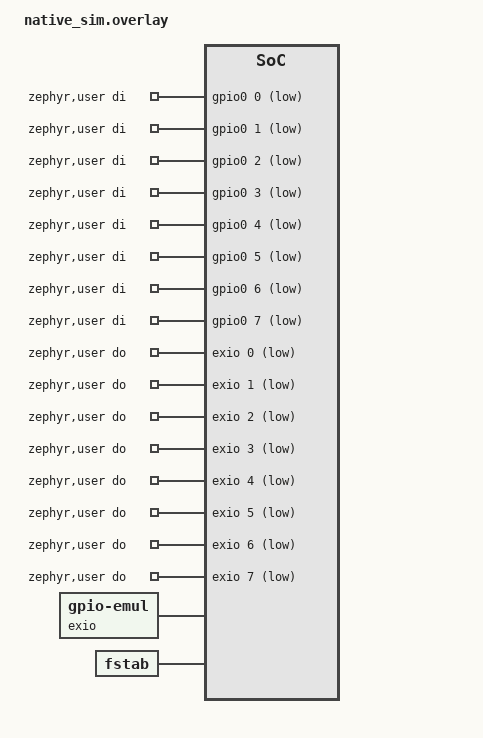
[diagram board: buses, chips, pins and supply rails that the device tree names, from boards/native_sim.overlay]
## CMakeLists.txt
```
# SPDX-License-Identifier: Apache-2.0

cmake_minimum_required(VERSION 3.20.0)

# The Waveshare board definition lives in this application (boards/waveshare).
list(APPEND BOARD_ROOT ${CMAKE_CURRENT_SOURCE_DIR})

find_package(Zephyr REQUIRED HINTS $ENV{ZEPHYR_BASE})
project(rs485_spb_gateway)

# Sparkplug B payloads: nanopb from the official Eclipse Tahu proto.
list(APPEND CMAKE_MODULE_PATH ${ZEPHYR_BASE}/modules/nanopb)
include(nanopb)
zephyr_nanopb_sources(app proto/sparkplug_b.proto)

# Default configuration embedded in the firmware (CFG-2). Override with
# -DGW_CONFIG_FILE=<path> to ship another default.
set(GW_CONFIG_FILE ${CMAKE_CURRENT_SOURCE_DIR}/config/default_config.json
    CACHE FILEPATH "JSON configuration embedded as the default")
generate_inc_file_for_target(app ${GW_CONFIG_FILE}
  ${ZEPHYR_BINARY_DIR}/include/generated/default_config.json.inc)

target_sources(app PRIVATE
  src/main.c
  src/app_config.c
  src/bdseq.c
  src/config.c
  src/convert.c
  src/debounce.c
  src/gw_shell.c
  src/gw_time.c
  src/json_reader.c
  src/local_io.c
  src/mb_poller.c
  src/model.c
  src/mqtt_link.c
  src/netmgr.c
  src/sparkplug.c
  src/spb_node.c
  src/status_led.c
)
```

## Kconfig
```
# SPDX-License-Identifier: Apache-2.0
rsource "Kconfig.gw"
source "Kconfig.zephyr"
```

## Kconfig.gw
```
# Gateway application options, shared by the firmware and the unit tests.
# SPDX-License-Identifier: Apache-2.0

menu "RS485 to Sparkplug B gateway"

config GW_MAX_DEVICES
	int "Maximum number of Modbus devices"
	default 16
	range 1 32

config GW_MAX_TAGS_PER_DEVICE
	int "Maximum number of tags per device"
	default 64
	range 1 128

config GW_MAX_TAGS
	int "Maximum number of tags in total"
	default 256
	range 1 1024

config GW_PAYLOAD_BUF_SIZE
	int "Sparkplug encode buffer size (bytes)"
	default 8192
	help
	  Size of the single static buffer used to encode outgoing payloads.
	  It must hold a DBIRTH with GW_MAX_TAGS_PER_DEVICE metrics; the
	  encoder fails cleanly (and logs) when a payload does not fit.

config GW_MQTT_RX_PAYLOAD_SIZE
	int "Largest accepted NCMD/DCMD payload (bytes)"
	default 1024

config GW_WRITE_QUEUE_LEN
	int "Depth of the DCMD write queue towards the RS485 bus owner"
	default 16

config GW_SNTP_RESYNC_S
	int "SNTP resynchronisation period (seconds)"
	default 3600

config GW_SNTP_TIMEOUT_MS
	int "SNTP query timeout (ms)"
	default 3000

config GW_CONFIG_PATH
	string "Path of the configuration override file"
	default "/lfs/config.json"

config GW_CONFIG_MAX_SIZE
	int "Largest accepted configuration file (bytes)"
	default 32768

config GW_HARDWARE_NAME
	string "Hardware description published in Node Info/Hardware"
	default "Waveshare ESP32-S3-POE-ETH-8DI-8DO"

config GW_WDT_TIMEOUT_MS
	int "Task watchdog timeout for the gateway threads (ms)"
	default 30000

config GW_STATUS_LED
	bool "Drive the RGB status LED"
	default y
	depends on LED_STRIP

module = GW
module-str = gateway
source "subsys/logging/Kconfig.template.log_config"

endmenu
```

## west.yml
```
# Minimal west manifest used to build this application (Zephyr v4.5.0).
#
# Usage (outside this repository):
#   mkdir -p ws/manifest && cp west.yml ws/manifest/
#   cd ws && west init -l manifest && west update --narrow -o=--depth=1
#   west blobs fetch hal_espressif   # only needed for Wi-Fi/BLE, not by the MVP
manifest:
  remotes:
    - name: zephyrproject-rtos
      url-base: https://github.com/zephyrproject-rtos
  projects:
    - name: zephyr
      remote: zephyrproject-rtos
      revision: v4.5.0
      import:
        name-allowlist:
          - hal_espressif
          - mbedtls
          - nanopb
          - littlefs
          - mcuboot
          - picolibc
          - zcbor
  self:
    path: manifest
```

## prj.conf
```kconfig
# Common configuration of the gateway firmware.
# Board specific parts live in boards/<board>.conf.

# --- System ---------------------------------------------------------------
CONFIG_MAIN_STACK_SIZE=4096
CONFIG_SYSTEM_WORKQUEUE_STACK_SIZE=2048
CONFIG_HEAP_MEM_POOL_SIZE=8192
CONFIG_REBOOT=y
CONFIG_HWINFO=y
CONFIG_ENTROPY_GENERATOR=y
CONFIG_TASK_WDT=y
CONFIG_WATCHDOG=y

# --- Logging and shell (REL-3) ---------------------------------------------
CONFIG_LOG=y
CONFIG_LOG_MODE_DEFERRED=y
CONFIG_LOG_BUFFER_SIZE=4096
CONFIG_GW_LOG_LEVEL_INF=y
CONFIG_SHELL=y
CONFIG_SHELL_STACK_SIZE=3072

# --- Persistent storage ---------------------------------------------------
CONFIG_FLASH=y
CONFIG_FLASH_MAP=y
CONFIG_ZMS=y
CONFIG_SETTINGS=y
CONFIG_SETTINGS_ZMS=y
CONFIG_FILE_SYSTEM=y
CONFIG_FILE_SYSTEM_LITTLEFS=y

# --- RS485 / Modbus RTU master --------------------------------------------
CONFIG_SERIAL=y
CONFIG_UART_INTERRUPT_DRIVEN=y
CONFIG_MODBUS=y
CONFIG_MODBUS_ROLE_CLIENT=y
CONFIG_MODBUS_SERIAL=y
# Honour the configured stop bits instead of the parity-derived default.
CONFIG_MODBUS_NONCOMPLIANT_SERIAL_MODE=y

# --- Networking and MQTT --------------------------------------------------
CONFIG_NETWORKING=y
CONFIG_NET_IPV4=y
CONFIG_NET_IPV6=n
CONFIG_NET_TCP=y
CONFIG_NET_UDP=y
CONFIG_NET_SOCKETS=y
CONFIG_NET_CONNECTION_MANAGER=y
CONFIG_DNS_RESOLVER=y
CONFIG_SNTP=y
CONFIG_MQTT_LIB=y
CONFIG_ZVFS_EVENTFD=y

# --- Sparkplug B payloads -------------------------------------------------
CONFIG_NANOPB=y

# --- Local I/O ------------------------------------------------------------
CONFIG_GPIO=y
```

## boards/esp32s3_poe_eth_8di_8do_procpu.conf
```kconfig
# Waveshare ESP32-S3-POE-ETH-8DI-8DO: W5500 Ethernet with the native IP stack.

CONFIG_SPI=y
CONFIG_NET_DRIVERS=y
CONFIG_ETH_DRIVER=y
CONFIG_NET_L2_ETHERNET=y
CONFIG_NET_L2_ETHERNET_MGMT=y
CONFIG_NET_DHCPV4=y
CONFIG_NET_CONTEXT_SNDTIMEO=y
CONFIG_NET_MAX_CONTEXTS=8

# TCA9554 output expander and the RGB status LED (RMT).
CONFIG_I2C=y
CONFIG_LED_STRIP=y
```

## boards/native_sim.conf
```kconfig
# Host simulation: offloaded (host) sockets instead of the W5500.
CONFIG_ETH_NATIVE_TAP=n
CONFIG_NET_DRIVERS=y
CONFIG_NET_SOCKETS_OFFLOAD=y
CONFIG_NET_NATIVE_OFFLOADED_SOCKETS=y

# 1 kHz DI sampling needs a 1 ms tick (the native_sim default is 10 ms).
CONFIG_SYS_CLOCK_TICKS_PER_SEC=1000

# Shell and logs on stdin/stdout so a test harness can drive "gw di".
CONFIG_UART_NATIVE_PTY_0_ON_STDINOUT=y
CONFIG_SHELL_PROMPT_UART=""
CONFIG_SHELL_VT100_COLORS=n
CONFIG_SHELL_ECHO_STATUS=n
CONFIG_LOG_BACKEND_NATIVE_POSIX=n
```

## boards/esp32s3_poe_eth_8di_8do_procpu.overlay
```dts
/*
 * Application additions for the Waveshare board: the LittleFS volume that
 * holds the configuration override (CFG-2).
 *
 * SPDX-License-Identifier: Apache-2.0
 */

/ {
	fstab {
		compatible = "zephyr,fstab";

		lfs: lfs {
			compatible = "zephyr,fstab,littlefs";
			mount-point = "/lfs";
			partition = <&lfs_partition>;
			automount;
			read-size = <16>;
			prog-size = <16>;
			cache-size = <256>;
			lookahead-size = <32>;
			block-cycles = <512>;
		};
	};
};
```

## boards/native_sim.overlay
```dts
/*
 * Host simulation target used for the end-to-end test (QA-3).
 *
 * - RS485: a host serial port (e.g. one end of a socat pty pair) through
 *   the native TTY UART; override the path with --rs485_port=<path>.
 * - DI: emulated GPIOs, driven with the "gw di" shell command.
 * - DO: a second emulated GPIO controller standing in for the TCA9554.
 * - LittleFS on the simulated flash for the configuration override.
 *
 * SPDX-License-Identifier: Apache-2.0
 */

/ {
	zephyr,user {
		di-gpios = <&gpio0 0 (GPIO_PULL_UP | GPIO_ACTIVE_LOW)>, <&gpio0 1 (GPIO_PULL_UP | GPIO_ACTIVE_LOW)>,
			   <&gpio0 2 (GPIO_PULL_UP | GPIO_ACTIVE_LOW)>, <&gpio0 3 (GPIO_PULL_UP | GPIO_ACTIVE_LOW)>,
			   <&gpio0 4 (GPIO_PULL_UP | GPIO_ACTIVE_LOW)>, <&gpio0 5 (GPIO_PULL_UP | GPIO_ACTIVE_LOW)>,
			   <&gpio0 6 (GPIO_PULL_UP | GPIO_ACTIVE_LOW)>, <&gpio0 7 (GPIO_PULL_UP | GPIO_ACTIVE_LOW)>;
		do-gpios = <&exio 0 GPIO_ACTIVE_LOW>, <&exio 1 GPIO_ACTIVE_LOW>,
			   <&exio 2 GPIO_ACTIVE_LOW>, <&exio 3 GPIO_ACTIVE_LOW>,
			   <&exio 4 GPIO_ACTIVE_LOW>, <&exio 5 GPIO_ACTIVE_LOW>,
			   <&exio 6 GPIO_ACTIVE_LOW>, <&exio 7 GPIO_ACTIVE_LOW>;
	};

	exio: gpio_exio {
		status = "okay";
		compatible = "zephyr,gpio-emul";
		rising-edge;
		falling-edge;
		high-level;
		low-level;
		gpio-controller;
		#gpio-cells = <2>;
		ngpios = <8>;
	};

	rs485: rs485 {
		status = "okay";
		compatible = "zephyr,native-tty-uart";
		current-speed = <9600>;
		serial-port = "/tmp/gw-rs485";

		rs485_modbus: rs485-modbus {
			compatible = "zephyr,modbus-serial";
			status = "okay";
		};
	};

	fstab {
		compatible = "zephyr,fstab";

		lfs: lfs {
			compatible = "zephyr,fstab,littlefs";
			mount-point = "/lfs";
			partition = <&lfs_partition>;
			automount;
			read-size = <16>;
			prog-size = <16>;
			cache-size = <256>;
			lookahead-size = <32>;
			block-cycles = <512>;
		};
	};
};

&flash0 {
	partitions {
		lfs_partition: partition@100000 {
			compatible = "zephyr,mapped-partition";
			label = "lfs";
			reg = <0x00100000 DT_SIZE_K(512)>;
		};
	};
};
```

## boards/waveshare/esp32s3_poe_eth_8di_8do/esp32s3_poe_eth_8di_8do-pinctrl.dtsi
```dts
/*
 * Pin map of the Waveshare ESP32-S3-POE-ETH-8DI-8DO (from the Waveshare
 * wiki pin table and its Arduino demo, see zephyr/README.md).
 *
 * SPDX-License-Identifier: Apache-2.0
 */

#include <zephyr/dt-bindings/pinctrl/esp32s3-pinctrl.h>

&pinctrl {
	/* Isolated RS485: TX GPIO17, RX GPIO18; DE/RTS GPIO21 is driven as a
	 * GPIO by the Modbus subsystem (de-gpios), see the board DTS.
	 */
	uart1_rs485: uart1_rs485 {
		group1 {
			pinmux = <UART1_TX_GPIO17>;
			output-high;
		};

		group2 {
			pinmux = <UART1_RX_GPIO18>;
			bias-pull-up;
		};
	};

	/* W5500: MOSI 13, MISO 14, SCLK 15 (CS 16 is a GPIO chip select) */
	spim2_w5500: spim2_w5500 {
		group1 {
			pinmux = <SPIM2_MISO_GPIO14>,
				 <SPIM2_SCLK_GPIO15>;
		};

		group2 {
			pinmux = <SPIM2_MOSI_GPIO13>;
			output-low;
		};
	};

	/* Shared I2C bus: TCA9554 (0x20, outputs) and PCF85063 RTC (0x51) */
	i2c0_default: i2c0_default {
		group1 {
			pinmux = <I2C0_SDA_GPIO42>,
				 <I2C0_SCL_GPIO41>;
			bias-pull-up;
			drive-open-drain;
			output-high;
		};
	};

	/* WS2812-type RGB LED data line on GPIO38, driven by RMT channel 0 */
	rmt_led: rmt_led {
		group1 {
			pinmux = <RMT_OUT0_GPIO38>;
			output-low;
		};
	};

	/* Passive buzzer on GPIO46 (PWM driven in the Waveshare demo) */
	ledc0_buzzer: ledc0_buzzer {
		group1 {
			pinmux = <LEDC_CH0_GPIO46>;
			output-enable;
		};
	};

	/* Isolated CAN (TWAI): TX GPIO2, RX GPIO3 */
	twai_default: twai_default {
		group1 {
			pinmux = <TWAI_TX_GPIO2>,
				 <TWAI_RX_GPIO3>;
		};
	};
};
```

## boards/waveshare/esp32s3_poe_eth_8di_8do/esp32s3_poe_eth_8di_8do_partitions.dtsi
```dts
/*
 * 16 MB flash layout (ESP32-S3-WROOM-1U-N16R8).
 *
 * Two 6 MB image slots keep room for MCUboot A/B updates (FW-1), a 3 MB
 * LittleFS volume holds the configuration file (CFG-2) and a separate
 * partition backs the settings subsystem (ZMS) for bdSeq (SPB-3).
 *
 * SPDX-License-Identifier: Apache-2.0
 */

&flash0 {
	reg = <0x0 DT_SIZE_M(16)>;
	ranges = <0x0 0x0 DT_SIZE_M(16)>;

	partitions {
		ranges;
		#address-cells = <1>;
		#size-cells = <1>;

		boot_partition: partition@0 {
			compatible = "zephyr,mapped-partition";
			label = "mcuboot";
			reg = <0x0 DT_SIZE_K(64)>;
		};

		sys_partition: partition@10000 {
			compatible = "zephyr,mapped-partition";
			label = "sys";
			reg = <0x10000 DT_SIZE_K(64)>;
		};

		slot0_partition: partition@20000 {
			compatible = "zephyr,mapped-partition";
			label = "image-0";
			reg = <0x20000 DT_SIZE_M(6)>;
		};

		slot1_partition: partition@620000 {
			compatible = "zephyr,mapped-partition";
			label = "image-1";
			reg = <0x620000 DT_SIZE_M(6)>;
		};

		lfs_partition: partition@c20000 {
			compatible = "zephyr,mapped-partition";
			label = "lfs";
			reg = <0xc20000 DT_SIZE_M(3)>;
		};

		storage_partition: partition@f20000 {
			compatible = "zephyr,mapped-partition";
			label = "storage";
			reg = <0xf20000 DT_SIZE_K(256)>;
		};

		coredump_partition: partition@fff000 {
			compatible = "zephyr,mapped-partition";
			label = "coredump";
			reg = <0xfff000 DT_SIZE_K(4)>;
		};
	};
};
```

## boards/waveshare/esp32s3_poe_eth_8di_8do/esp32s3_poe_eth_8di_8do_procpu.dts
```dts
/*
 * Waveshare ESP32-S3-POE-ETH-8DI-8DO, PRO CPU.
 *
 * Facts confirmed from the Waveshare wiki and its Arduino demo code
 * (ESP32-S3-POE-ETH-8DI-8DO-Demo.zip): see zephyr/README.md, section
 * "Datos de la placa", for the evidence and the confidence level.
 *
 * SPDX-License-Identifier: Apache-2.0
 */

/dts-v1/;

#include <espressif/esp32s3/esp32s3.dtsi>
#include <zephyr/dt-bindings/gpio/gpio.h>
#include <zephyr/dt-bindings/input/input-event-codes.h>
#include <zephyr/dt-bindings/led/led.h>
#include "esp32s3_poe_eth_8di_8do_partitions.dtsi"
#include "esp32s3_poe_eth_8di_8do-pinctrl.dtsi"

/ {
	model = "Waveshare ESP32-S3-POE-ETH-8DI-8DO PROCPU";
	compatible = "waveshare,esp32s3-poe-eth-8di-8do";

	aliases {
		watchdog0 = &wdt0;
		sw0 = &button_boot;
		status-led = &rgb_led;
		rtc = &rtc;
	};

	chosen {
		zephyr,sram = &sram1;
		zephyr,console = &usb_serial;
		zephyr,shell-uart = &usb_serial;
		zephyr,flash = &flash0;
		zephyr,code-partition = &slot0_partition;
		zephyr,settings-partition = &storage_partition;
		zephyr,canbus = &twai;
	};

	buttons {
		compatible = "gpio-keys";

		button_boot: button_boot {
			gpios = <&gpio0 0 (GPIO_PULL_UP | GPIO_ACTIVE_LOW)>;
			label = "BOOT";
			zephyr,code = <INPUT_KEY_0>;
		};
	};

	/*
	 * Field I/O for applications (there is no generic binding for plain
	 * digital I/O channels).
	 *
	 * di-gpios: opto-isolated inputs DI1..DI8 = GPIO4..GPIO11. The pin is
	 * pulled up and the energised optocoupler pulls it low: active low.
	 *
	 * do-gpios: Darlington sink outputs DO1..DO8 = TCA9554 EXIO1..EXIO8.
	 * A low expander pin turns the output on: active low.
	 */
	zephyr,user {
		di-gpios = <&gpio0 4 (GPIO_PULL_UP | GPIO_ACTIVE_LOW)>,
			   <&gpio0 5 (GPIO_PULL_UP | GPIO_ACTIVE_LOW)>,
			   <&gpio0 6 (GPIO_PULL_UP | GPIO_ACTIVE_LOW)>,
			   <&gpio0 7 (GPIO_PULL_UP | GPIO_ACTIVE_LOW)>,
			   <&gpio0 8 (GPIO_PULL_UP | GPIO_ACTIVE_LOW)>,
			   <&gpio0 9 (GPIO_PULL_UP | GPIO_ACTIVE_LOW)>,
			   <&gpio0 10 (GPIO_PULL_UP | GPIO_ACTIVE_LOW)>,
			   <&gpio0 11 (GPIO_PULL_UP | GPIO_ACTIVE_LOW)>;
		do-gpios = <&exio 0 GPIO_ACTIVE_LOW>, <&exio 1 GPIO_ACTIVE_LOW>,
			   <&exio 2 GPIO_ACTIVE_LOW>, <&exio 3 GPIO_ACTIVE_LOW>,
			   <&exio 4 GPIO_ACTIVE_LOW>, <&exio 5 GPIO_ACTIVE_LOW>,
			   <&exio 6 GPIO_ACTIVE_LOW>, <&exio 7 GPIO_ACTIVE_LOW>;
	};

	/* RGB status LED on GPIO38; the demo sends the bytes in R, G, B order. */
	rgb_led: rgb-led {
		compatible = "worldsemi,ws2812-pulse-io";
		pulse-ios = <&rmt 0>;
		chain-length = <1>;
		color-mapping = <LED_COLOR_ID_RED LED_COLOR_ID_GREEN LED_COLOR_ID_BLUE>;
	};
};

&psram0 {
	size = <DT_SIZE_M(8)>;
};

&gpio0 {
	status = "okay";
};

&gpio1 {
	status = "okay";
};

&usb_serial {
	status = "okay";
};

&wdt0 {
	status = "okay";
};

&trng0 {
	status = "okay";
};

&rmt {
	pinctrl-0 = <&rmt_led>;
	pinctrl-names = "default";
	status = "okay";
};

/* Isolated RS485 transceiver on UART1, DE/RTS on GPIO21 (active high). */
&uart1 {
	status = "okay";
	current-speed = <9600>;
	pinctrl-0 = <&uart1_rs485>;
	pinctrl-names = "default";

	rs485_modbus: rs485-modbus {
		compatible = "zephyr,modbus-serial";
		status = "okay";
		de-gpios = <&gpio0 21 GPIO_ACTIVE_HIGH>;
	};
};

/* W5500 Ethernet controller (MACRAW mode with the Zephyr IP stack). */
&spi2 {
	#address-cells = <1>;
	#size-cells = <0>;
	status = "okay";
	pinctrl-0 = <&spim2_w5500>;
	pinctrl-names = "default";
	cs-gpios = <&gpio0 16 GPIO_ACTIVE_LOW>;

	w5500: ethernet@0 {
		compatible = "wiznet,w5500";
		reg = <0x0>;
		spi-max-frequency = <20000000>;
		int-gpios = <&gpio0 12 GPIO_ACTIVE_LOW>;
		reset-gpios = <&gpio1 7 GPIO_ACTIVE_LOW>; /* GPIO39 */
	};
};

&i2c0 {
	status = "okay";
	clock-frequency = <I2C_BITRATE_STANDARD>;
	pinctrl-0 = <&i2c0_default>;
	pinctrl-names = "default";

	/* TCA9554 EXIO1..8 -> DO1..DO8. A low pin turns the Darlington on. */
	exio: gpio@20 {
		compatible = "ti,tca9554";
		reg = <0x20>;
		gpio-controller;
		#gpio-cells = <2>;
		ngpios = <8>;
	};

	rtc: rtc@51 {
		compatible = "nxp,pcf85063a";
		reg = <0x51>;
		int1-gpios = <&gpio1 8 GPIO_ACTIVE_LOW>; /* GPIO40 */
		status = "disabled"; /* TIME-2 is not part of the MVP */
	};
};

/* Passive buzzer (PWM), not used by the MVP. */
&ledc0 {
	pinctrl-0 = <&ledc0_buzzer>;
	pinctrl-names = "default";
	#address-cells = <1>;
	#size-cells = <0>;
	status = "disabled";

	channel0@0 {
		reg = <0x0>;
		timer = <0>;
	};
};

&twai {
	pinctrl-0 = <&twai_default>;
	pinctrl-names = "default";
	status = "disabled"; /* CAN is not part of the product spec */
};

/* microSD: 1-bit SD bus, CLK 48, CMD 47, D0 45 (D1..D3 not connected). */
&sdhc {
	status = "disabled";
};

&sdhc1 {
	status = "disabled";
	bus-width = <1>;
	clk-pin = <48>;
	cmd-pin = <47>;
	d0-pin = <45>;
};
```

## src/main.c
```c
/*
 * RS485 (Modbus RTU master) to MQTT Sparkplug B 3.0 edge node.
 *
 * Boot sequence: watchdog, configuration, local I/O, persistent state,
 * network, RS485 bus owner, MQTT session. With an invalid configuration
 * the gateway does not poll nor connect (CFG-1); only the status LED and
 * the shell stay alive so the configuration can be replaced.
 *
 * SPDX-License-Identifier: Apache-2.0
 */

#include <zephyr/device.h>
#include <zephyr/devicetree.h>
#include <zephyr/drivers/hwinfo.h>
#include <zephyr/kernel.h>
#include <zephyr/logging/log.h>
#include <zephyr/task_wdt/task_wdt.h>

#include <zephyr/app_version.h>

#include "app_config.h"
#include "bdseq.h"
#include "local_io.h"
#include "mb_poller.h"
#include "model.h"
#include "mqtt_link.h"
#include "netmgr.h"

LOG_MODULE_REGISTER(main, CONFIG_GW_LOG_LEVEL);

static struct gw_config config;

static void log_reset_cause(void)
{
	uint32_t cause = 0;

	if (hwinfo_get_reset_cause(&cause) == 0) {
		LOG_INF("reset cause 0x%08x", cause);
		(void)hwinfo_clear_reset_cause();
	}
}

static int start_watchdog(void)
{
	const struct device *hw_wdt = DEVICE_DT_GET_OR_NULL(DT_ALIAS(watchdog0));

	if (hw_wdt != NULL && !device_is_ready(hw_wdt)) {
		hw_wdt = NULL;
	}
	/* The hardware watchdog backs up the task watchdog itself (REL-1). */
	return task_wdt_init(hw_wdt);
}

int main(void)
{
	const char *source;
	int ret;

	LOG_INF("RS485 Sparkplug B gateway %s (%s)", APP_VERSION_STRING,
		STRINGIFY(APP_BUILD_VERSION));
	log_reset_cause();

	ret = start_watchdog();
	if (ret < 0) {
		LOG_ERR("task watchdog init failed (%d)", ret);
	}

	ret = app_config_load(&config, &source);
	model_init(&config);

	if (local_io_init() < 0) {
		LOG_ERR("digital inputs unavailable");
	}
	(void)local_io_start(ret == 0 ? config.local_io.di_debounce_ms : 20);

	if (ret < 0) {
		model_status_set(GW_STATUS_CONFIG_ERROR, true);
		LOG_ERR("not starting: fix the configuration and reboot");
		return 0;
	}

	(void)bdseq_init();
	if (netmgr_start(&config) < 0) {
		LOG_ERR("network start failed");
	}
	if (mb_poller_start(&config) < 0) {
		LOG_ERR("RS485 start failed");
	}
	if (mqtt_link_start(&config) < 0) {
		LOG_ERR("MQTT start failed");
	}
	return 0;
}
```

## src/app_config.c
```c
/*
 * SPDX-License-Identifier: Apache-2.0
 */

#include "app_config.h"

#include <errno.h>

#include <zephyr/fs/fs.h>
#include <zephyr/logging/log.h>

LOG_MODULE_REGISTER(app_config, CONFIG_GW_LOG_LEVEL);

/* Default configuration, embedded at build time from GW_CONFIG_FILE. */
static const char default_config[] = {
#include "default_config.json.inc"
	0x00};

/* Load buffer, only used once at boot. */
static char file_buf[CONFIG_GW_CONFIG_MAX_SIZE];

static int read_file(const char *path, size_t *len)
{
	struct fs_dirent entry;
	struct fs_file_t file;
	ssize_t n;
	int ret;

	ret = fs_stat(path, &entry);
	if (ret < 0) {
		return ret;
	}
	if (entry.size > sizeof(file_buf)) {
		LOG_ERR("%s: %u bytes exceeds the %u byte limit", path, (unsigned int)entry.size,
			(unsigned int)sizeof(file_buf));
		return -EFBIG;
	}
	fs_file_t_init(&file);
	ret = fs_open(&file, path, FS_O_READ);
	if (ret < 0) {
		return ret;
	}
	n = fs_read(&file, file_buf, entry.size);
	(void)fs_close(&file);
	if (n != (ssize_t)entry.size) {
		return (n < 0) ? (int)n : -EIO;
	}
	*len = (size_t)n;
	return 0;
}

int app_config_load(struct gw_config *cfg, const char **source)
{
	char err[GW_CFG_ERR_MAX];
	const char *doc = default_config;
	size_t len = sizeof(default_config) - 1;
	int ret;

	*source = "built-in default";
	ret = read_file(CONFIG_GW_CONFIG_PATH, &len);
	if (ret == 0) {
		doc = file_buf;
		*source = CONFIG_GW_CONFIG_PATH;
	} else if (ret == -ENOENT) {
		len = sizeof(default_config) - 1;
	} else {
		LOG_ERR("cannot read %s (%d)", CONFIG_GW_CONFIG_PATH, ret);
		return ret;
	}

	ret = gw_config_parse(doc, len, cfg, err, sizeof(err));
	if (ret < 0) {
		LOG_ERR("invalid configuration (%s): %s", *source, err);
		return ret;
	}
	LOG_INF("configuration from %s: %u device(s), %u tag(s)", *source, cfg->device_count,
		cfg->tag_count);
	return 0;
}
```

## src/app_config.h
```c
/*
 * Configuration source selection (CFG-2): the file in LittleFS overrides
 * the default document embedded in the firmware.
 *
 * SPDX-License-Identifier: Apache-2.0
 */

#ifndef GW_APP_CONFIG_H_
#define GW_APP_CONFIG_H_

#include "gw_config.h"

/**
 * Load the active configuration.
 *
 * @param source set to a description of where it came from.
 * @retval 0 on success, -EINVAL if the selected document is invalid (the
 *         error has been logged), another negative errno on I/O errors.
 */
int app_config_load(struct gw_config *cfg, const char **source);

#endif /* GW_APP_CONFIG_H_ */
```

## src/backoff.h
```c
/*
 * Reconnection back-off (MQTT-2): exponential from 1 s to 60 s with jitter.
 *
 * SPDX-License-Identifier: Apache-2.0
 */

#ifndef GW_BACKOFF_H_
#define GW_BACKOFF_H_

#include <stdint.h>

#define BACKOFF_MIN_MS 1000U
#define BACKOFF_MAX_MS 60000U

/**
 * Delay before reconnection attempt number @p attempt (0 = first retry).
 * The ceiling doubles per attempt up to BACKOFF_MAX_MS and the delay is
 * drawn from [ceiling/2, ceiling] using @p rnd ("equal jitter"), never
 * below BACKOFF_MIN_MS.
 */
static inline uint32_t backoff_delay_ms(uint32_t attempt, uint32_t rnd)
{
	uint32_t ceiling = (attempt >= 6) ? BACKOFF_MAX_MS : (BACKOFF_MIN_MS << attempt);
	uint32_t delay;

	if (ceiling > BACKOFF_MAX_MS) {
		ceiling = BACKOFF_MAX_MS;
	}
	delay = ceiling / 2U + rnd % (ceiling / 2U + 1U);
	return (delay < BACKOFF_MIN_MS) ? BACKOFF_MIN_MS : delay;
}

#endif /* GW_BACKOFF_H_ */
```

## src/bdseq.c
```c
/*
 * SPDX-License-Identifier: Apache-2.0
 */

#include "bdseq.h"

#include <errno.h>

#include <zephyr/logging/log.h>
#include <zephyr/settings/settings.h>
#include <zephyr/sys/util.h>

LOG_MODULE_REGISTER(bdseq, CONFIG_GW_LOG_LEVEL);

#define KEY_ROOT "gw"
#define KEY_NAME "bdseq"

static uint8_t stored;

static int bdseq_set(const char *name, size_t len, settings_read_cb read_cb, void *cb_arg)
{
	const char *next;

	if (settings_name_steq(name, KEY_NAME, &next) && next == NULL) {
		if (len != sizeof(stored)) {
			return -EINVAL;
		}
		return read_cb(cb_arg, &stored, sizeof(stored)) == sizeof(stored) ? 0 : -EIO;
	}
	return -ENOENT;
}

SETTINGS_STATIC_HANDLER_DEFINE(gw_bdseq, KEY_ROOT, NULL, bdseq_set, NULL, NULL);

int bdseq_init(void)
{
	int ret = settings_subsys_init();

	if (ret == 0) {
		ret = settings_load_subtree(KEY_ROOT);
	}
	if (ret < 0) {
		LOG_ERR("settings unavailable (%d): bdSeq restarts at 0", ret);
		return ret;
	}
	LOG_INF("stored bdSeq %u", stored);
	return 0;
}

uint8_t bdseq_next(void)
{
	uint8_t current = stored;
	uint8_t next = (uint8_t)(current + 1U);
	int ret = settings_save_one(KEY_ROOT "/" KEY_NAME, &next, sizeof(next));

	if (ret < 0) {
		LOG_ERR("cannot persist bdSeq (%d)", ret);
	}
	stored = next;
	return current;
}
```

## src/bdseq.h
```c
/*
 * Persistent Sparkplug birth/death sequence number (SPB-3).
 *
 * SPDX-License-Identifier: Apache-2.0
 */

#ifndef GW_BDSEQ_H_
#define GW_BDSEQ_H_

#include <stdint.h>

/** Load the stored value from the settings subsystem (0 on first boot). */
int bdseq_init(void);

/**
 * bdSeq for a new connection attempt: returns the stored value and persists
 * its successor (mod 256) before the attempt is made, so a reset during the
 * attempt can never reuse a value already announced in a will message.
 */
uint8_t bdseq_next(void);

#endif /* GW_BDSEQ_H_ */
```

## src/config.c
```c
/*
 * JSON configuration parser and validator (CFG-1).
 *
 * Schema: SPEC section 6. Unknown members are rejected so that typos are
 * reported instead of silently ignored. Every error message starts with the
 * JSON path of the offending value.
 *
 * SPDX-License-Identifier: Apache-2.0
 */

#include "gw_config.h"
#include "json_reader.h"

#include <errno.h>
#include <math.h>
#include <stdarg.h>
#include <stdio.h>
#include <string.h>

#include <zephyr/sys/util.h>

#define KEY_MAX 24

struct parser {
	struct jr jr;
	struct gw_config *cfg;
	char path[64];
	size_t path_len;
	char *err;
	size_t err_size;
};

/* ---- error and path helpers -------------------------------------------- */

static int fail(struct parser *p, const char *key, const char *fmt, ...)
{
	char msg[96];
	va_list ap;

	va_start(ap, fmt);
	vsnprintf(msg, sizeof(msg), fmt, ap);
	va_end(ap);

	if (key != NULL) {
		snprintf(p->err, p->err_size, "%s%s%s: %s", p->path, p->path_len ? "." : "", key,
			 msg);
	} else {
		snprintf(p->err, p->err_size, "%s: %s", p->path_len ? p->path : "(root)", msg);
	}
	return -EINVAL;
}

/* Report a syntax error detected by the reader. */
static int fail_syntax(struct parser *p)
{
	return fail(p, NULL, "%s", p->jr.err);
}

static size_t path_push(struct parser *p, const char *fmt, ...)
{
	size_t saved = p->path_len;
	va_list ap;
	int n;

	va_start(ap, fmt);
	n = vsnprintf(&p->path[p->path_len], sizeof(p->path) - p->path_len, fmt, ap);
	va_end(ap);
	if (n > 0) {
		p->path_len = MIN(p->path_len + (size_t)n, sizeof(p->path) - 1);
	}
	return saved;
}

static void path_pop(struct parser *p, size_t saved)
{
	p->path_len = saved;
	p->path[saved] = '\0';
}

/* ---- typed readers ----------------------------------------------------- */

static int expect_kind(struct parser *p, const char *key, enum jr_kind want)
{
	enum jr_kind got = jr_peek(&p->jr);

	if (got != want) {
		return fail(p, key, "expected %s, got %s", jr_kind_name(want), jr_kind_name(got));
	}
	return 0;
}

static int read_str(struct parser *p, const char *key, char *out, size_t size)
{
	if (expect_kind(p, key, JR_STRING) < 0) {
		return -EINVAL;
	}
	if (jr_string(&p->jr, out, size) < 0) {
		return fail(p, key, "%s", p->jr.err);
	}
	return 0;
}

static int read_double(struct parser *p, const char *key, double *out)
{
	if (expect_kind(p, key, JR_NUMBER) < 0) {
		return -EINVAL;
	}
	if (jr_number(&p->jr, out) < 0) {
		return fail(p, key, "%s", p->jr.err);
	}
	if (!isfinite(*out)) {
		return fail(p, key, "number out of range");
	}
	return 0;
}

static int read_uint(struct parser *p, const char *key, uint32_t min, uint32_t max,
		     uint32_t *out)
{
	double v;

	if (read_double(p, key, &v) < 0) {
		return -EINVAL;
	}
	if (v != floor(v)) {
		return fail(p, key, "expected an integer");
	}
	if (v < (double)min || v > (double)max) {
		return fail(p, key, "must be between %u and %u", (unsigned int)min,
			    (unsigned int)max);
	}
	*out = (uint32_t)v;
	return 0;
}

static int read_u8(struct parser *p, const char *key, uint32_t min, uint32_t max, uint8_t *out)
{
	uint32_t v;
	int ret = read_uint(p, key, min, max, &v);

	*out = (uint8_t)v;
	return ret;
}

static int read_u16(struct parser *p, const char *key, uint32_t min, uint32_t max,
		    uint16_t *out)
{
	uint32_t v;
	int ret = read_uint(p, key, min, max, &v);

	*out = (uint16_t)v;
	return ret;
}

static int read_bool(struct parser *p, const char *key, bool *out)
{
	if (expect_kind(p, key, JR_BOOL) < 0) {
		return -EINVAL;
	}
	if (jr_bool(&p->jr, out) < 0) {
		return fail(p, key, "%s", p->jr.err);
	}
	return 0;
}

static int read_enum(struct parser *p, const char *key, const char *const *names, size_t count,
		     uint8_t *out)
{
	char buf[KEY_MAX];

	if (read_str(p, key, buf, sizeof(buf)) < 0) {
		return -EINVAL;
	}
	for (size_t i = 0; i < count; i++) {
		if (strcmp(buf, names[i]) == 0) {
			*out = (uint8_t)i;
			return 0;
		}
	}
	return fail(p, key, "invalid value '%s'", buf);
}

static int parse_ipv4(const char *s, uint8_t out[4])
{
	unsigned int part = 0;
	int digits = 0;
	int idx = 0;

	for (;; s++) {
		if (*s >= '0' && *s <= '9') {
			part = part * 10U + (unsigned int)(*s - '0');
			if (++digits > 3 || part > 255U) {
				return -EINVAL;
			}
		} else if ((*s == '.' || *s == '\0') && digits > 0 && idx < 4) {
			out[idx++] = (uint8_t)part;
			part = 0;
			digits = 0;
			if (*s == '\0') {
				break;
			}
		} else {
			return -EINVAL;
		}
	}
	return idx == 4 ? 0 : -EINVAL;
}

static int read_ipv4(struct parser *p, const char *key, uint8_t out[4])
{
	char buf[16];

	if (read_str(p, key, buf, sizeof(buf)) < 0) {
		return -EINVAL;
	}
	if (parse_ipv4(buf, out) < 0) {
		return fail(p, key, "invalid IPv4 address '%s'", buf);
	}
	return 0;
}

/* Sparkplug identifiers become MQTT topic levels (Sparkplug 3.0, 4.1). */
static int check_spb_id(struct parser *p, const char *key, const char *id, bool required)
{
	if (id[0] == '\0') {
		return required ? fail(p, key, "must not be empty") : 0;
	}
	if (strpbrk(id, "/+#") != NULL) {
		return fail(p, key, "must not contain '/', '+' or '#'");
	}
	return 0;
}

static int unknown(struct parser *p, const char *key)
{
	return fail(p, key, "unknown member");
}

static int next_member(struct parser *p, char *key)
{
	int ret = jr_object_next(&p->jr, key, KEY_MAX);

	if (ret < 0) {
		return fail_syntax(p);
	}
	return ret;
}

static int begin_object(struct parser *p, const char *key)
{
	if (expect_kind(p, key, JR_OBJECT) < 0) {
		return -EINVAL;
	}
	return jr_object_begin(&p->jr) < 0 ? fail_syntax(p) : 0;
}

/* ---- sections ---------------------------------------------------------- */

static int parse_network(struct parser *p)
{
	struct gw_config *c = p->cfg;
	bool has_ip = false, has_mask = false, has_gw = false;
	char key[KEY_MAX];
	int ret;

	while ((ret = next_member(p, key)) > 0) {
		if (strcmp(key, "dhcp") == 0) {
			ret = read_bool(p, key, &c->network.dhcp);
		} else if (strcmp(key, "ip") == 0) {
			ret = read_ipv4(p, key, c->network.ip);
			has_ip = true;
		} else if (strcmp(key, "netmask") == 0) {
			ret = read_ipv4(p, key, c->network.netmask);
			has_mask = true;
		} else if (strcmp(key, "gateway") == 0) {
			ret = read_ipv4(p, key, c->network.gateway);
			has_gw = true;
		} else if (strcmp(key, "dns") == 0) {
			ret = read_ipv4(p, key, c->network.dns);
			c->network.has_dns = true;
		} else {
			ret = unknown(p, key);
		}
		if (ret < 0) {
			return ret;
		}
	}
	if (ret < 0) {
		return ret;
	}
	if (!c->network.dhcp && !(has_ip && has_mask && has_gw)) {
		return fail(p, NULL, "'ip', 'netmask' and 'gateway' are required when dhcp is false");
	}
	return 0;
}

static int parse_ntp(struct parser *p)
{
	char key[KEY_MAX];
	int ret;

	while ((ret = next_member(p, key)) > 0) {
		if (strcmp(key, "server") == 0) {
			ret = read_str(p, key, p->cfg->ntp.server, sizeof(p->cfg->ntp.server));
		} else {
			ret = unknown(p, key);
		}
		if (ret < 0) {
			return ret;
		}
	}
	return ret;
}

static int parse_mqtt(struct parser *p)
{
	struct gw_config *c = p->cfg;
	char key[KEY_MAX];
	int ret;

	while ((ret = next_member(p, key)) > 0) {
		if (strcmp(key, "host") == 0) {
			ret = read_str(p, key, c->mqtt.host, sizeof(c->mqtt.host));
		} else if (strcmp(key, "port") == 0) {
			ret = read_u16(p, key, 1, 65535, &c->mqtt.port);
		} else if (strcmp(key, "client_id") == 0) {
			ret = read_str(p, key, c->mqtt.client_id, sizeof(c->mqtt.client_id));
		} else if (strcmp(key, "username") == 0) {
			ret = read_str(p, key, c->mqtt.username, sizeof(c->mqtt.username));
		} else if (strcmp(key, "password") == 0) {
			ret = read_str(p, key, c->mqtt.password, sizeof(c->mqtt.password));
		} else if (strcmp(key, "keepalive_s") == 0) {
			ret = read_u16(p, key, 5, 3600, &c->mqtt.keepalive_s);
		} else {
			ret = unknown(p, key);
		}
		if (ret < 0) {
			return ret;
		}
	}
	if (ret < 0) {
		return ret;
	}
	if (c->mqtt.host[0] == '\0') {
		return fail(p, "host", "must not be empty");
	}
	return 0;
}

static int parse_sparkplug(struct parser *p)
{
	struct gw_config *c = p->cfg;
	char key[KEY_MAX];
	int ret;

	while ((ret = next_member(p, key)) > 0) {
		if (strcmp(key, "group_id") == 0) {
			ret = read_str(p, key, c->sparkplug.group_id, sizeof(c->sparkplug.group_id));
		} else if (strcmp(key, "edge_node_id") == 0) {
			ret = read_str(p, key, c->sparkplug.edge_node_id,
				       sizeof(c->sparkplug.edge_node_id));
		} else if (strcmp(key, "primary_host_id") == 0) {
			ret = read_str(p, key, c->sparkplug.primary_host_id,
				       sizeof(c->sparkplug.primary_host_id));
		} else {
			ret = unknown(p, key);
		}
		if (ret < 0) {
			return ret;
		}
	}
	if (ret < 0) {
		return ret;
	}
	ret = check_spb_id(p, "group_id", c->sparkplug.group_id, true);
	if (ret == 0) {
		ret = check_spb_id(p, "edge_node_id", c->sparkplug.edge_node_id, true);
	}
	if (ret == 0) {
		ret = check_spb_id(p, "primary_host_id", c->sparkplug.primary_host_id, false);
	}
	return ret;
}

static int parse_rs485(struct parser *p)
{
	static const char *const parities[] = {"none", "even", "odd"};
	struct gw_config *c = p->cfg;
	char key[KEY_MAX];
	int ret;

	while ((ret = next_member(p, key)) > 0) {
		if (strcmp(key, "baud") == 0) {
			ret = read_uint(p, key, 1200, 115200, &c->rs485.baud);
		} else if (strcmp(key, "parity") == 0) {
			ret = read_enum(p, key, parities, 3, &c->rs485.parity);
		} else if (strcmp(key, "stop_bits") == 0) {
			ret = read_u8(p, key, 1, 2, &c->rs485.stop_bits);
		} else if (strcmp(key, "response_timeout_ms") == 0) {
			ret = read_u16(p, key, 10, 10000, &c->rs485.response_timeout_ms);
		} else if (strcmp(key, "retries") == 0) {
			ret = read_u8(p, key, 0, 10, &c->rs485.retries);
		} else if (strcmp(key, "inter_frame_delay_ms") == 0) {
			ret = read_u16(p, key, 0, 1000, &c->rs485.inter_frame_delay_ms);
		} else {
			ret = unknown(p, key);
		}
		if (ret < 0) {
			return ret;
		}
	}
	return ret;
}

static int parse_local_io(struct parser *p)
{
	char key[KEY_MAX];
	int ret;

	while ((ret = next_member(p, key)) > 0) {
		if (strcmp(key, "di_debounce_ms") == 0) {
			ret = read_u16(p, key, 0, 1000, &p->cfg->local_io.di_debounce_ms);
		} else {
			ret = unknown(p, key);
		}
		if (ret < 0) {
			return ret;
		}
	}
	return ret;
}

static void tag_defaults(struct gw_tag_cfg *t)
{
	memset(t, 0, sizeof(*t));
	t->word_order = GW_WORD_BIG;
	t->scale = 1.0;
}

static int validate_tag(struct parser *p, const struct gw_device_cfg *dev, struct gw_tag_cfg *t,
			bool has_type)
{
	const struct gw_tag_cfg *tags = p->cfg->tags;
	bool bit = gw_area_is_bit((enum gw_area)t->area);

	if (t->name[0] == '\0') {
		return fail(p, "name", "is required");
	}
	if (!has_type) {
		t->type = bit ? GW_TYPE_BOOL : GW_TYPE_UINT16;
	}
	if (bit != (t->type == GW_TYPE_BOOL)) {
		return fail(p, "type", "'bool' is the only type for coil/discrete and is only "
				       "valid there");
	}
	if (t->writable && (t->area == GW_AREA_DISCRETE || t->area == GW_AREA_INPUT)) {
		return fail(p, "writable", "only coil and holding tags can be writable");
	}
	if (bit && (t->scale != 1.0 || t->offset != 0.0)) {
		return fail(p, "scale", "scale/offset are not allowed on bool tags");
	}
	if (t->scale == 0.0) {
		return fail(p, "scale", "must not be zero");
	}
	if (t->deadband < 0.0) {
		return fail(p, "deadband", "must not be negative");
	}
	if ((uint32_t)t->address + gw_type_regs((enum gw_type)t->type) > 65536U) {
		return fail(p, "address", "register range exceeds 65535");
	}
	for (uint16_t i = dev->first_tag; i < p->cfg->tag_count; i++) {
		if (strcmp(tags[i].name, t->name) == 0) {
			return fail(p, "name", "duplicate tag name '%s'", t->name);
		}
	}
	return 0;
}

static int parse_tag(struct parser *p, struct gw_device_cfg *dev, struct gw_tag_cfg *t)
{
	static const char *const areas[] = {"coil", "discrete", "holding", "input"};
	static const char *const types[] = {"bool",  "uint16", "int16",
					    "uint32", "int32",  "float32"};
	static const char *const orders[] = {"big", "little"};
	bool has_area = false, has_type = false;
	char units[GW_NAME_MAX + 1];
	char key[KEY_MAX];
	int ret;

	tag_defaults(t);
	if (begin_object(p, NULL) < 0) {
		return -EINVAL;
	}
	while ((ret = next_member(p, key)) > 0) {
		if (strcmp(key, "name") == 0) {
			ret = read_str(p, key, t->name, sizeof(t->name));
		} else if (strcmp(key, "area") == 0) {
			ret = read_enum(p, key, areas, 4, &t->area);
			has_area = true;
		} else if (strcmp(key, "address") == 0) {
			ret = read_u16(p, key, 0, 65535, &t->address);
		} else if (strcmp(key, "type") == 0) {
			ret = read_enum(p, key, types, 6, &t->type);
			has_type = true;
		} else if (strcmp(key, "word_order") == 0) {
			ret = read_enum(p, key, orders, 2, &t->word_order);
		} else if (strcmp(key, "scale") == 0) {
			ret = read_double(p, key, &t->scale);
		} else if (strcmp(key, "offset") == 0) {
			ret = read_double(p, key, &t->offset);
		} else if (strcmp(key, "deadband") == 0) {
			ret = read_double(p, key, &t->deadband);
		} else if (strcmp(key, "writable") == 0) {
			ret = read_bool(p, key, &t->writable);
		} else if (strcmp(key, "units") == 0) {
			/* Accepted by the common schema; engUnit (SPB-16) is not in the MVP. */
			ret = read_str(p, key, units, sizeof(units));
		} else {
			ret = unknown(p, key);
		}
		if (ret < 0) {
			return ret;
		}
	}
	if (ret < 0) {
		return ret;
	}
	if (!has_area) {
		return fail(p, "area", "is required");
	}
	return validate_tag(p, dev, t, has_type);
}

static int parse_tags(struct parser *p, struct gw_device_cfg *dev)
{
	struct gw_config *c = p->cfg;
	int ret;

	if (expect_kind(p, "tags", JR_ARRAY) < 0) {
		return -EINVAL;
	}
	if (jr_array_begin(&p->jr) < 0) {
		return fail_syntax(p);
	}
	dev->first_tag = c->tag_count;
	while ((ret = jr_array_next(&p->jr)) > 0) {
		size_t saved;

		if (dev->tag_count >= CONFIG_GW_MAX_TAGS_PER_DEVICE) {
			return fail(p, "tags", "too many tags (max %d per device)",
				    CONFIG_GW_MAX_TAGS_PER_DEVICE);
		}
		if (c->tag_count >= CONFIG_GW_MAX_TAGS) {
			return fail(p, "tags", "too many tags (max %d in total)",
				    CONFIG_GW_MAX_TAGS);
		}
		saved = path_push(p, ".tags[%u]", dev->tag_count);
		ret = parse_tag(p, dev, &c->tags[c->tag_count]);
		if (ret < 0) {
			return ret;
		}
		path_pop(p, saved);
		c->tag_count++;
		dev->tag_count++;
	}
	return ret < 0 ? fail_syntax(p) : 0;
}

static int parse_device(struct parser *p, struct gw_device_cfg *dev)
{
	const struct gw_config *c = p->cfg;
	bool has_tags = false, has_unit = false;
	char key[KEY_MAX];
	uint32_t poll_ms;
	int ret;

	memset(dev, 0, sizeof(*dev));
	dev->poll_ms = 1000;
	dev->offline_after = 3;

	if (begin_object(p, NULL) < 0) {
		return -EINVAL;
	}
	while ((ret = next_member(p, key)) > 0) {
		if (strcmp(key, "name") == 0) {
			ret = read_str(p, key, dev->name, sizeof(dev->name));
		} else if (strcmp(key, "unit_id") == 0) {
			ret = read_u8(p, key, 1, 247, &dev->unit_id);
			has_unit = true;
		} else if (strcmp(key, "poll_ms") == 0) {
			ret = read_uint(p, key, 50, 3600000, &poll_ms);
			dev->poll_ms = poll_ms;
		} else if (strcmp(key, "offline_after") == 0) {
			ret = read_u16(p, key, 1, 1000, &dev->offline_after);
		} else if (strcmp(key, "tags") == 0) {
			ret = parse_tags(p, dev);
			has_tags = true;
		} else {
			ret = unknown(p, key);
		}
		if (ret < 0) {
			return ret;
		}
	}
	if (ret < 0) {
		return ret;
	}
	if (check_spb_id(p, "name", dev->name, true) < 0) {
		return -EINVAL;
	}
	if (!has_unit) {
		return fail(p, "unit_id", "is required");
	}
	if (!has_tags || dev->tag_count == 0) {
		return fail(p, "tags", "at least one tag is required");
	}
	for (uint8_t i = 0; i < c->device_count; i++) {
		if (strcmp(c->devices[i].name, dev->name) == 0) {
			return fail(p, "name", "duplicate device name '%s'", dev->name);
		}
		if (c->devices[i].unit_id == dev->unit_id) {
			return fail(p, "unit_id", "unit_id %u already used by '%s'", dev->unit_id,
				    c->devices[i].name);
		}
	}
	return 0;
}

static int parse_devices(struct parser *p)
{
	struct gw_config *c = p->cfg;
	int ret;

	if (jr_array_begin(&p->jr) < 0) {
		return fail_syntax(p);
	}
	while ((ret = jr_array_next(&p->jr)) > 0) {
		size_t saved;

		if (c->device_count >= CONFIG_GW_MAX_DEVICES) {
			return fail(p, NULL, "too many devices (max %d)", CONFIG_GW_MAX_DEVICES);
		}
		saved = path_push(p, "devices[%u]", c->device_count);
		ret = parse_device(p, &c->devices[c->device_count]);
		if (ret < 0) {
			return ret;
		}
		path_pop(p, saved);
		c->device_count++;
	}
	return ret < 0 ? fail_syntax(p) : 0;
}

static void config_defaults(struct gw_config *c)
{
	memset(c, 0, sizeof(*c));
	c->network.dhcp = true;
	strcpy(c->ntp.server, "pool.ntp.org");
	c->mqtt.port = 1883;
	c->mqtt.keepalive_s = 30;
	c->rs485.baud = 9600;
	c->rs485.parity = GW_PARITY_NONE;
	c->rs485.stop_bits = 1;
	c->rs485.response_timeout_ms = 200;
	c->rs485.retries = 2;
	c->rs485.inter_frame_delay_ms = 5;
	c->local_io.di_debounce_ms = 20;
}

int gw_config_parse(const char *json, size_t len, struct gw_config *cfg, char *err,
		    size_t err_size)
{
	struct parser p = {.cfg = cfg, .err = err, .err_size = err_size};
	bool has_mqtt = false, has_spb = false;
	char key[KEY_MAX];
	int ret;

	config_defaults(cfg);
	err[0] = '\0';
	jr_init(&p.jr, json, len);

	if (begin_object(&p, NULL) < 0) {
		return -EINVAL;
	}
	while ((ret = next_member(&p, key)) > 0) {
		size_t saved = path_push(&p, "%s", key);

		if (strcmp(key, "devices") == 0) {
			path_pop(&p, saved);
			if (expect_kind(&p, key, JR_ARRAY) < 0) {
				return -EINVAL;
			}
			ret = parse_devices(&p);
		} else {
			int (*section)(struct parser *p) = NULL;

			if (strcmp(key, "network") == 0) {
				section = parse_network;
			} else if (strcmp(key, "ntp") == 0) {
				section = parse_ntp;
			} else if (strcmp(key, "mqtt") == 0) {
				section = parse_mqtt;
				has_mqtt = true;
			} else if (strcmp(key, "sparkplug") == 0) {
				section = parse_sparkplug;
				has_spb = true;
			} else if (strcmp(key, "rs485") == 0) {
				section = parse_rs485;
			} else if (strcmp(key, "local_io") == 0) {
				section = parse_local_io;
			}
			path_pop(&p, saved);
			if (section == NULL) {
				return unknown(&p, key);
			}
			if (begin_object(&p, key) < 0) {
				return -EINVAL;
			}
			saved = path_push(&p, "%s", key);
			ret = section(&p);
			path_pop(&p, saved);
		}
		if (ret < 0) {
			return ret;
		}
	}
	if (ret < 0) {
		return ret;
	}
	if (jr_finish(&p.jr) < 0) {
		return fail_syntax(&p);
	}
	if (!has_mqtt) {
		return fail(&p, "mqtt", "section is required");
	}
	if (!has_spb) {
		return fail(&p, "sparkplug", "section is required");
	}
	if (cfg->mqtt.client_id[0] == '\0') {
		strcpy(cfg->mqtt.client_id, cfg->sparkplug.edge_node_id);
	}
	return 0;
}
```

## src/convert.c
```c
/*
 * SPDX-License-Identifier: Apache-2.0
 */

#include "convert.h"
#include "sparkplug.h"

#include <errno.h>
#include <math.h>
#include <string.h>

uint32_t gw_tag_datatype(const struct gw_tag_cfg *t)
{
	if (t->type == GW_TYPE_BOOL) {
		return SPB_DT_BOOLEAN;
	}
	if (gw_tag_is_scaled(t)) {
		return SPB_DT_FLOAT;
	}
	switch (t->type) {
	case GW_TYPE_INT16:
		return SPB_DT_INT16;
	case GW_TYPE_UINT16:
		return SPB_DT_UINT16;
	case GW_TYPE_INT32:
		return SPB_DT_INT32;
	case GW_TYPE_UINT32:
		return SPB_DT_UINT32;
	default:
		return SPB_DT_FLOAT;
	}
}

static uint32_t join32(const struct gw_tag_cfg *t, const uint16_t regs[2])
{
	return (t->word_order == GW_WORD_BIG) ? ((uint32_t)regs[0] << 16) | regs[1]
					      : ((uint32_t)regs[1] << 16) | regs[0];
}

static void split32(const struct gw_tag_cfg *t, uint32_t v, uint16_t regs[2])
{
	uint16_t hi = (uint16_t)(v >> 16);
	uint16_t lo = (uint16_t)v;

	regs[0] = (t->word_order == GW_WORD_BIG) ? hi : lo;
	regs[1] = (t->word_order == GW_WORD_BIG) ? lo : hi;
}

double gw_regs_to_value(const struct gw_tag_cfg *t, const uint16_t regs[2])
{
	double raw;

	switch (t->type) {
	case GW_TYPE_INT16:
		raw = (int16_t)regs[0];
		break;
	case GW_TYPE_UINT32:
		raw = join32(t, regs);
		break;
	case GW_TYPE_INT32:
		raw = (int32_t)join32(t, regs);
		break;
	case GW_TYPE_FLOAT32: {
		uint32_t bits = join32(t, regs);
		float f;

		memcpy(&f, &bits, sizeof(f));
		raw = f;
		break;
	}
	default: /* uint16 and bool (coil/discrete bit already in regs[0]) */
		raw = regs[0];
		break;
	}
	return raw * t->scale + t->offset;
}

int gw_value_to_regs(const struct gw_tag_cfg *t, double value, uint16_t regs[2])
{
	double raw = (value - t->offset) / t->scale;
	double r;

	if (!isfinite(raw)) {
		return -ERANGE;
	}
	if (t->type == GW_TYPE_FLOAT32) {
		float f = (float)raw;
		uint32_t bits;

		if (!isfinite(f)) {
			return -ERANGE;
		}
		memcpy(&bits, &f, sizeof(bits));
		split32(t, bits, regs);
		return 0;
	}

	r = round(raw);
	switch (t->type) {
	case GW_TYPE_BOOL:
		regs[0] = (r != 0.0) ? 1U : 0U;
		return 0;
	case GW_TYPE_UINT16:
		if (r < 0.0 || r > 65535.0) {
			return -ERANGE;
		}
		regs[0] = (uint16_t)r;
		return 0;
	case GW_TYPE_INT16:
		if (r < -32768.0 || r > 32767.0) {
			return -ERANGE;
		}
		regs[0] = (uint16_t)(int16_t)r;
		return 0;
	case GW_TYPE_UINT32:
		if (r < 0.0 || r > 4294967295.0) {
			return -ERANGE;
		}
		split32(t, (uint32_t)r, regs);
		return 0;
	case GW_TYPE_INT32:
		if (r < -2147483648.0 || r > 2147483647.0) {
			return -ERANGE;
		}
		split32(t, (uint32_t)(int32_t)r, regs);
		return 0;
	default:
		return -ERANGE;
	}
}
```

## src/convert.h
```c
/*
 * Modbus register <-> engineering value conversion (MB-5, MB-7) and the
 * tag type to Sparkplug datatype mapping (SPEC section 6).
 *
 * SPDX-License-Identifier: Apache-2.0
 */

#ifndef GW_CONVERT_H_
#define GW_CONVERT_H_

#include <stdint.h>

#include "gw_config.h"

/** True if the tag applies a linear transformation (scale != 1 or offset != 0). */
static inline bool gw_tag_is_scaled(const struct gw_tag_cfg *t)
{
	return t->scale != 1.0 || t->offset != 0.0;
}

/** Sparkplug datatype (Tahu DataType value) published for a tag. */
uint32_t gw_tag_datatype(const struct gw_tag_cfg *t);

/**
 * Decode one or two holding/input registers into the tag's engineering
 * value: value = raw * scale + offset.
 */
double gw_regs_to_value(const struct gw_tag_cfg *t, const uint16_t regs[2]);

/**
 * Inverse conversion for writes: raw = (value - offset) / scale, rounded to
 * the nearest integer for integer types.
 *
 * @retval 0 on success, -ERANGE if the raw value does not fit the type.
 */
int gw_value_to_regs(const struct gw_tag_cfg *t, double value, uint16_t regs[2]);

#endif /* GW_CONVERT_H_ */
```

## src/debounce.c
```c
/*
 * SPDX-License-Identifier: Apache-2.0
 */

#include "debounce.h"

#include <string.h>

void debounce_init(struct debounce *db, uint8_t initial, uint16_t samples)
{
	memset(db, 0, sizeof(*db));
	db->state = initial;
	db->samples = (samples == 0) ? 1 : samples;
}

uint8_t debounce_step(struct debounce *db, uint8_t raw)
{
	uint8_t diff = raw ^ db->state;
	uint8_t flipped = 0;

	for (int i = 0; i < 8; i++) {
		if ((diff & (1U << i)) == 0) {
			db->count[i] = 0;
		} else if (++db->count[i] >= db->samples) {
			db->count[i] = 0;
			flipped |= (uint8_t)(1U << i);
		}
	}
	db->state ^= flipped;
	return flipped;
}
```

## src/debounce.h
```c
/*
 * Sample-based debouncing of the 8 digital inputs (IO-1).
 *
 * SPDX-License-Identifier: Apache-2.0
 */

#ifndef GW_DEBOUNCE_H_
#define GW_DEBOUNCE_H_

#include <stdint.h>

struct debounce {
	uint8_t state;     /* debounced state, bit n = input n */
	uint16_t count[8]; /* consecutive samples disagreeing with @c state */
	uint16_t samples;  /* samples required to accept a new level (>= 1) */
};

/** @p samples consecutive differing samples are needed to flip an input. */
void debounce_init(struct debounce *db, uint8_t initial, uint16_t samples);

/** Feed one sample of all inputs; returns the mask of inputs that flipped. */
uint8_t debounce_step(struct debounce *db, uint8_t raw);

#endif /* GW_DEBOUNCE_H_ */
```

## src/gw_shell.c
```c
/*
 * "gw" shell commands: status and diagnostics (subset of CFG-6).
 *
 * SPDX-License-Identifier: Apache-2.0
 */

#include <stdlib.h>

#include <zephyr/drivers/gpio.h>
#include <zephyr/shell/shell.h>

#include "gw_time.h"
#include "local_io.h"
#include "model.h"
#include "spb_node.h"

#if defined(CONFIG_GPIO_EMUL)
#include <zephyr/drivers/gpio/gpio_emul.h>
#endif

static int cmd_status(const struct shell *sh, size_t argc, char **argv)
{
	const struct gw_config *cfg = model_cfg();
	uint32_t st = model_status();
	uint8_t di;
	uint8_t outputs;

	ARG_UNUSED(argc);
	ARG_UNUSED(argv);

	shell_print(sh, "config: %s, network: %s, mqtt: %s, time: %s, seq: %u",
		    (st & GW_STATUS_CONFIG_ERROR) ? "INVALID" : "ok",
		    (st & GW_STATUS_NET_UP) ? "up" : "down",
		    (st & GW_STATUS_MQTT_UP) ? "connected" : "disconnected",
		    gw_time_synced() ? "synced" : "not synced", spb_node_seq());
	if (st & GW_STATUS_CONFIG_ERROR) {
		return 0;
	}

	model_lock();
	di = model_io()->di;
	outputs = model_io()->outputs;
	model_unlock();
	shell_print(sh, "DI 0x%02x  DO 0x%02x (bit n = channel n+1)", di, outputs);

	for (uint8_t i = 0; i < cfg->device_count; i++) {
		struct gw_dev_state ds;

		model_lock();
		ds = *model_dev(i);
		model_unlock();
		shell_print(sh, "%-16s unit %3u %-7s ok %u timeout %u error %u", cfg->devices[i].name,
			    cfg->devices[i].unit_id, ds.online ? "online" : "offline", ds.ok_count,
			    ds.timeout_count, ds.error_count);
	}
	return 0;
}

#if defined(CONFIG_GPIO_EMUL)
/* Simulator only: drive an emulated digital input (logical level). */
static int cmd_di(const struct shell *sh, size_t argc, char **argv)
{
	long ch = strtol(argv[1], NULL, 10);
	long level = strtol(argv[2], NULL, 10);
	const struct gpio_dt_spec *spec;
	int phys;

	ARG_UNUSED(argc);
	spec = local_io_di_spec((uint8_t)(ch - 1));
	if (ch < 1 || spec == NULL || (level != 0 && level != 1)) {
		shell_error(sh, "usage: gw di <1-8> <0|1>");
		return -EINVAL;
	}
	phys = (spec->dt_flags & GPIO_ACTIVE_LOW) ? !level : level;
	return gpio_emul_input_set(spec->port, spec->pin, phys);
}
#endif

SHELL_STATIC_SUBCMD_SET_CREATE(gw_cmds,
	SHELL_CMD(status, NULL, "Gateway, device and I/O status", cmd_status),
#if defined(CONFIG_GPIO_EMUL)
	SHELL_CMD_ARG(di, NULL, "Set emulated input: di <1-8> <0|1>", cmd_di, 3, 0),
#endif
	SHELL_SUBCMD_SET_END);

SHELL_CMD_REGISTER(gw, &gw_cmds, "RS485 Sparkplug gateway", NULL);
```
